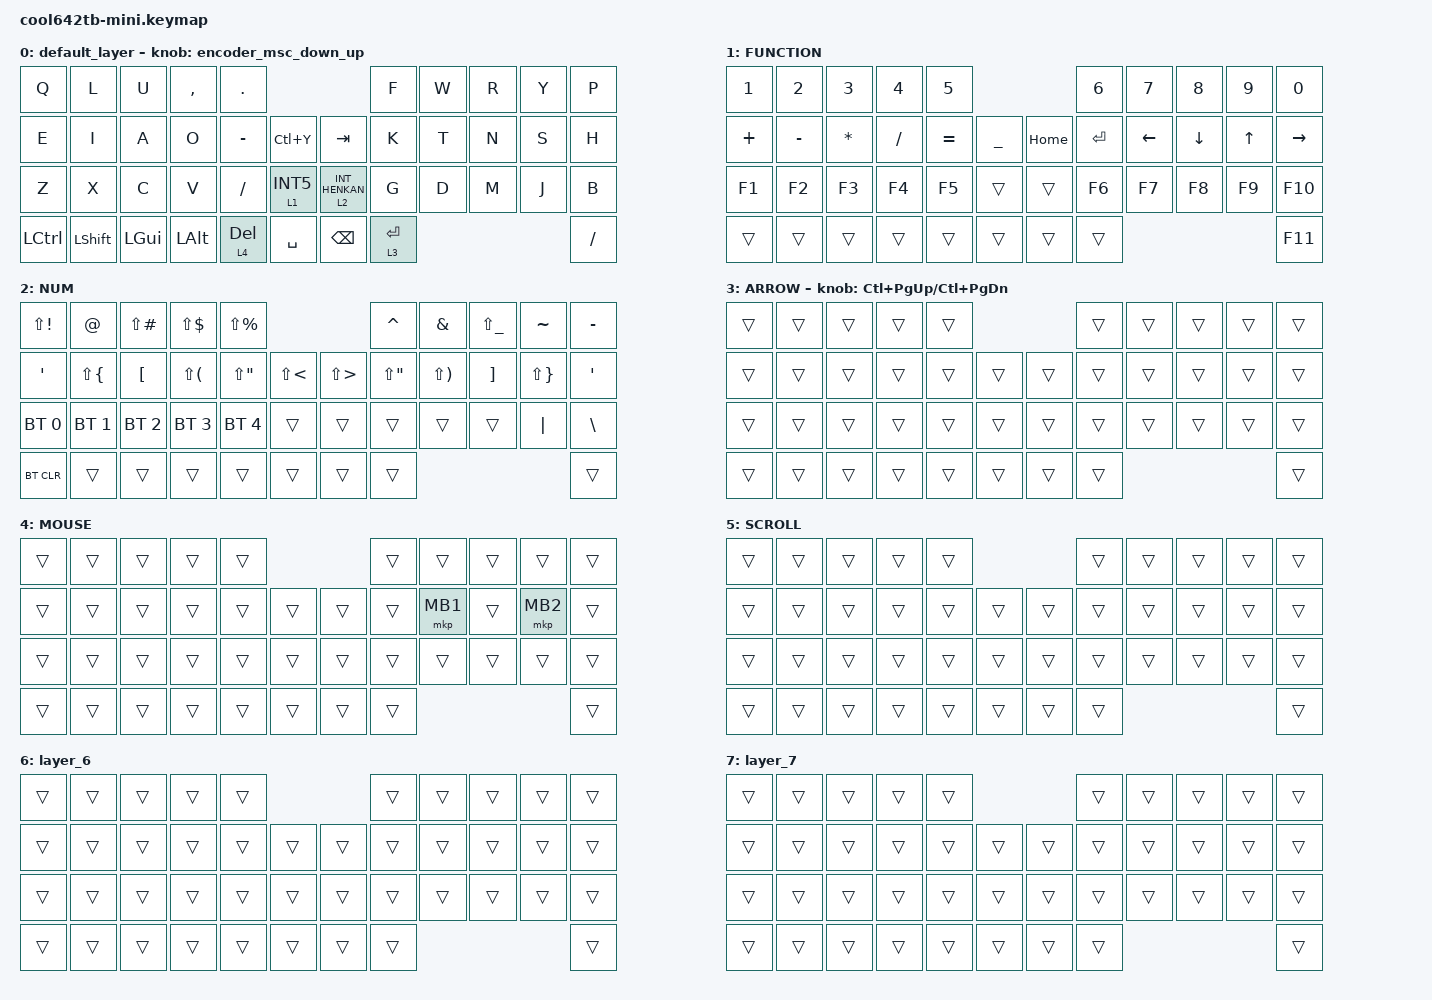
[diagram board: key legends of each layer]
#include <behaviors.dtsi>
#include <dt-bindings/zmk/bt.h>
#include <dt-bindings/zmk/keys.h>
#include <dt-bindings/zmk/pointing.h>

#define MOUSE 4
#define SCROLL 5
#define NUM 6
#define ZMK_POINTING_DEFAULT_SCRL_VAL 80

&mt {
    flavor = "balanced";
    quick-tap-ms = <0>;
};

/ {
    combos {
        compatible = "zmk,combos";

        shift_tab {
            bindings = <&kp LANG2>;
            key-positions = <12 13>;
        };

        lang {
            bindings = <&kp LANG1>;
            key-positions = <18 19>;
        };
    };

    behaviors {
        encoder_msc_down_up: encoder_msc_down_up {
            compatible = "zmk,behavior-sensor-rotate";
            label = "ENCODER_MSC_DOWN_UP";
            #sensor-binding-cells = <0>;
            bindings = <&msc SCRL_UP>, <&msc SCRL_DOWN>;

            tap-ms = <20>;
        };
    };

    keymap {
        compatible = "zmk,keymap";

        default_layer {
            bindings = <
&kp Q      &kp L           &kp U         &kp COMMA     &kp PERIOD                                      &kp F        &kp W  &kp R  &kp Y  &kp P
&kp E      &kp I           &kp A         &kp O         &kp MINUS     &kp LC(Y)       &kp TAB           &kp K        &kp T  &kp N  &kp S  &kp H
&kp Z      &kp X           &kp C         &kp V         &kp SLASH     &lt 1 INT5      &lt 2 INT_HENKAN  &kp G        &kp D  &kp M  &kp J  &kp B
&kp LCTRL  &kp LEFT_SHIFT  &kp LEFT_GUI  &kp LEFT_ALT  &lt 4 DELETE  &kp SPACE       &kp BACKSPACE     &lt 3 ENTER                       &kp SLASH
            >;

            sensor-bindings = <&encoder_msc_down_up>;
        };

        FUNCTION {
            bindings = <
&kp N1    &kp N2     &kp N3     &kp N4     &kp N5                              &kp N6     &kp N7    &kp N8    &kp N9        &kp N0
&kp PLUS  &kp MINUS  &kp ASTRK  &kp SLASH  &kp EQUAL  &kp UNDER      &kp HOME  &kp ENTER  &kp LEFT  &kp DOWN  &kp UP_ARROW  &kp RIGHT
&kp F1    &kp F2     &kp F3     &kp F4     &kp F5     &trans         &trans    &kp F6     &kp F7    &kp F8    &kp F9        &kp F10
&trans    &trans     &trans     &trans     &trans     &trans         &trans    &trans                                       &kp F11
            >;
        };

        NUM {
            bindings = <
&kp LS(EXCL)  &kp AT        &kp LS(POUND)  &kp LS(DLLR)  &kp LS(PRCNT)                              &kp CARET    &kp AMPERSAND  &kp LS(UNDER)  &kp TILDE     &kp MINUS
&kp SQT       &kp LS(LBRC)  &kp LBKT       &kp LS(LPAR)  &kp LS(DQT)    &kp LS(LT)      &kp LS(GT)  &kp LS(DQT)  &kp LS(RPAR)   &kp RBKT       &kp LS(RBRC)  &kp SQT
&bt BT_SEL 0  &bt BT_SEL 1  &bt BT_SEL 2   &bt BT_SEL 3  &bt BT_SEL 4   &trans          &trans      &trans       &trans         &trans         &kp PIPE      &kp BACKSLASH
&bt BT_CLR    &trans        &trans         &trans        &trans         &trans          &trans      &trans                                                   &trans
            >;
        };

        ARROW {
            bindings = <
&trans  &trans  &trans  &trans  &trans                      &trans  &trans  &trans  &trans  &trans
&trans  &trans  &trans  &trans  &trans  &trans      &trans  &trans  &trans  &trans  &trans  &trans
&trans  &trans  &trans  &trans  &trans  &trans      &trans  &trans  &trans  &trans  &trans  &trans
&trans  &trans  &trans  &trans  &trans  &trans      &trans  &trans                          &trans
            >;

            sensor-bindings = <&inc_dec_kp LC(PAGE_UP) LC(PAGE_DOWN)>;
        };

        MOUSE {
            bindings = <
&trans  &trans  &trans  &trans  &trans                      &trans  &trans    &trans  &trans    &trans
&trans  &trans  &trans  &trans  &trans  &trans      &trans  &trans  &mkp MB1  &trans  &mkp MB2  &trans
&trans  &trans  &trans  &trans  &trans  &trans      &trans  &trans  &trans    &trans  &trans    &trans
&trans  &trans  &trans  &trans  &trans  &trans      &trans  &trans                              &trans
            >;
        };

        SCROLL {
            bindings = <
&trans  &trans  &trans  &trans  &trans                      &trans  &trans  &trans  &trans  &trans
&trans  &trans  &trans  &trans  &trans  &trans      &trans  &trans  &trans  &trans  &trans  &trans
&trans  &trans  &trans  &trans  &trans  &trans      &trans  &trans  &trans  &trans  &trans  &trans
&trans  &trans  &trans  &trans  &trans  &trans      &trans  &trans                          &trans
            >;
        };

        layer_6 {
            bindings = <
&trans  &trans  &trans  &trans  &trans                      &trans  &trans  &trans  &trans  &trans
&trans  &trans  &trans  &trans  &trans  &trans      &trans  &trans  &trans  &trans  &trans  &trans
&trans  &trans  &trans  &trans  &trans  &trans      &trans  &trans  &trans  &trans  &trans  &trans
&trans  &trans  &trans  &trans  &trans  &trans      &trans  &trans                          &trans
            >;
        };

        layer_7 {
            bindings = <
&trans  &trans  &trans  &trans  &trans                      &trans  &trans  &trans  &trans  &trans
&trans  &trans  &trans  &trans  &trans  &trans      &trans  &trans  &trans  &trans  &trans  &trans
&trans  &trans  &trans  &trans  &trans  &trans      &trans  &trans  &trans  &trans  &trans  &trans
&trans  &trans  &trans  &trans  &trans  &trans      &trans  &trans                          &trans
            >;
        };
    };
};
